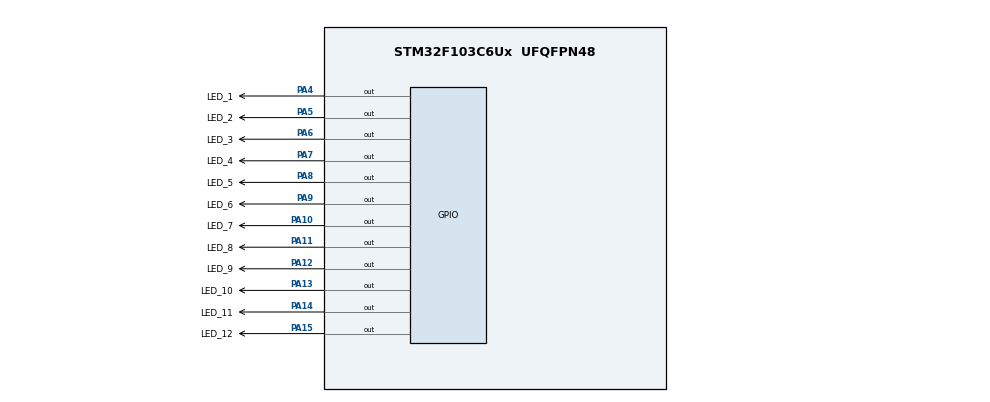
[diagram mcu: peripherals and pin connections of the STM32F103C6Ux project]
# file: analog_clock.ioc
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Mcu.Family=STM32F1
Mcu.Name=STM32F103C6Ux
Mcu.Package=UFQFPN48
NVIC.PriorityGroup=NVIC_PRIORITYGROUP_4
PA10.GPIO_Label=LED_7
PA10.Signal=GPIO_Output
PA11.GPIO_Label=LED_8
PA11.Signal=GPIO_Output
PA12.GPIO_Label=LED_9
PA12.Signal=GPIO_Output
PA13.GPIO_Label=LED_10
PA13.Signal=GPIO_Output
PA14.GPIO_Label=LED_11
PA14.Signal=GPIO_Output
PA15.GPIO_Label=LED_12
PA15.Signal=GPIO_Output
PA4.GPIO_Label=LED_1
PA4.Signal=GPIO_Output
PA5.GPIO_Label=LED_2
PA5.Signal=GPIO_Output
PA6.GPIO_Label=LED_3
PA6.Signal=GPIO_Output
PA7.GPIO_Label=LED_4
PA7.Signal=GPIO_Output
PA8.GPIO_Label=LED_5
PA8.Signal=GPIO_Output
PA9.GPIO_Label=LED_6
PA9.Signal=GPIO_Output
ProjectManager.HeapSize=0x200
ProjectManager.StackSize=0x400
ProjectManager.TargetToolchain=STM32CubeIDE
RCC.APB1Freq_Value=8000000
RCC.APB2Freq_Value=8000000
VP_SYS_VS_ND.Mode=No_Debug
board=custom

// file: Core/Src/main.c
/* USER CODE BEGIN Header */
/**
  ******************************************************************************
  * @file           : main.c
  * @brief          : Main program body
  ******************************************************************************
  * @attention
  *
  * <h2><center>&copy; Copyright (c) 2025 STMicroelectronics.
  * All rights reserved.</center></h2>
  *
  * This software component is licensed by ST under BSD 3-Clause license,
  * the "License"; You may not use this file except in compliance with the
  * License. You may obtain a copy of the License at:
  *                        opensource.org/licenses/BSD-3-Clause
  *
  ******************************************************************************
  */
/* USER CODE END Header */
#include "main.h"

void SystemClock_Config(void);
static void MX_GPIO_Init(void);
/* USER CODE BEGIN PFP */
void clearAllClock(void);
void setNumberOnClock(int num);
void clearNumberOnClock(int num);
/* USER CODE END PFP */

int main(void)
{

  /* MCU Configuration--------------------------------------------------------*/

  /* Reset of all peripherals, Initializes the Flash interface and the Systick. */
  HAL_Init();

  /* Configure the system clock */
  SystemClock_Config();

  /* Initialize all configured peripherals */
  MX_GPIO_Init();
  /* USER CODE BEGIN 2 */
  int hour = 0;
  int min = 0;
  int sec = 0;
  /* USER CODE END 2 */
  clearAllClock();
  /* Infinite loop */
  while (1)
  {
	  clearNumberOnClock(sec / 5);
	  sec++;
	  if (sec == 60) {
		  sec = 0;
		  clearNumberOnClock(min / 5);
	      min++;
	      setNumberOnClock(min / 5);
	  }
	  if (min == 60) {
	      min = 0;
	      clearNumberOnClock(hour % 12);
	      hour++;
	      setNumberOnClock(hour % 12);
	  }
	  setNumberOnClock(hour % 12);
	  setNumberOnClock(min / 5);
	  setNumberOnClock(sec / 5);
	  HAL_Delay(100);
  }
}

void SystemClock_Config(void)
{
  RCC_OscInitTypeDef RCC_OscInitStruct = {0};
  RCC_ClkInitTypeDef RCC_ClkInitStruct = {0};

  /** Initializes the RCC Oscillators according to the specified parameters
  * in the RCC_OscInitTypeDef structure.
  */
  RCC_OscInitStruct.OscillatorType = RCC_OSCILLATORTYPE_HSI;
  RCC_OscInitStruct.HSIState = RCC_HSI_ON;
  RCC_OscInitStruct.HSICalibrationValue = RCC_HSICALIBRATION_DEFAULT;
  RCC_OscInitStruct.PLL.PLLState = RCC_PLL_NONE;
  if (HAL_RCC_OscConfig(&RCC_OscInitStruct) != HAL_OK)
  {
    Error_Handler();
  }
  /** Initializes the CPU, AHB and APB buses clocks
  */
  RCC_ClkInitStruct.ClockType = RCC_CLOCKTYPE_HCLK|RCC_CLOCKTYPE_SYSCLK
                              |RCC_CLOCKTYPE_PCLK1|RCC_CLOCKTYPE_PCLK2;
  RCC_ClkInitStruct.SYSCLKSource = RCC_SYSCLKSOURCE_HSI;
  RCC_ClkInitStruct.AHBCLKDivider = RCC_SYSCLK_DIV1;
  RCC_ClkInitStruct.APB1CLKDivider = RCC_HCLK_DIV1;
  RCC_ClkInitStruct.APB2CLKDivider = RCC_HCLK_DIV1;

  if (HAL_RCC_ClockConfig(&RCC_ClkInitStruct, FLASH_LATENCY_0) != HAL_OK)
  {
    Error_Handler();
  }
}

static void MX_GPIO_Init(void)
{
  GPIO_InitTypeDef GPIO_InitStruct = {0};

  /* GPIO Ports Clock Enable */
  __HAL_RCC_GPIOA_CLK_ENABLE();

  /*Configure GPIO pin Output Level */
  HAL_GPIO_WritePin(GPIOA, LED_1_Pin|LED_2_Pin|LED_3_Pin|LED_4_Pin
                          |LED_5_Pin|LED_6_Pin|LED_7_Pin|LED_8_Pin
                          |LED_9_Pin|LED_10_Pin|LED_11_Pin|LED_12_Pin, GPIO_PIN_RESET);

  /*Configure GPIO pins : LED_1_Pin LED_2_Pin LED_3_Pin LED_4_Pin
                           LED_5_Pin LED_6_Pin LED_7_Pin LED_8_Pin
                           LED_9_Pin LED_10_Pin LED_11_Pin LED_12_Pin */
  GPIO_InitStruct.Pin = LED_1_Pin|LED_2_Pin|LED_3_Pin|LED_4_Pin
                          |LED_5_Pin|LED_6_Pin|LED_7_Pin|LED_8_Pin
                          |LED_9_Pin|LED_10_Pin|LED_11_Pin|LED_12_Pin;
  GPIO_InitStruct.Mode = GPIO_MODE_OUTPUT_PP;
  GPIO_InitStruct.Pull = GPIO_NOPULL;
  GPIO_InitStruct.Speed = GPIO_SPEED_FREQ_LOW;
  HAL_GPIO_Init(GPIOA, &GPIO_InitStruct);

}

/* USER CODE BEGIN 4 */
void clearAllClock(void){
	HAL_GPIO_WritePin ( LED_1_GPIO_Port , LED_1_Pin , GPIO_PIN_SET ) ;
	HAL_GPIO_WritePin ( LED_2_GPIO_Port , LED_2_Pin , GPIO_PIN_SET ) ;
	HAL_GPIO_WritePin ( LED_3_GPIO_Port , LED_3_Pin , GPIO_PIN_SET ) ;
	HAL_GPIO_WritePin ( LED_4_GPIO_Port , LED_4_Pin , GPIO_PIN_SET ) ;
	HAL_GPIO_WritePin ( LED_5_GPIO_Port , LED_5_Pin , GPIO_PIN_SET ) ;
	HAL_GPIO_WritePin ( LED_6_GPIO_Port , LED_6_Pin , GPIO_PIN_SET ) ;
	HAL_GPIO_WritePin ( LED_7_GPIO_Port , LED_7_Pin , GPIO_PIN_SET ) ;
	HAL_GPIO_WritePin ( LED_8_GPIO_Port , LED_8_Pin , GPIO_PIN_SET ) ;
	HAL_GPIO_WritePin ( LED_9_GPIO_Port , LED_9_Pin , GPIO_PIN_SET ) ;
	HAL_GPIO_WritePin ( LED_10_GPIO_Port , LED_10_Pin , GPIO_PIN_SET ) ;
	HAL_GPIO_WritePin ( LED_11_GPIO_Port , LED_11_Pin , GPIO_PIN_SET ) ;
	HAL_GPIO_WritePin ( LED_12_GPIO_Port , LED_12_Pin , GPIO_PIN_SET ) ;
}
void setNumberOnClock(int num){
	if (num == 0){
		HAL_GPIO_WritePin ( LED_2_GPIO_Port , LED_2_Pin , GPIO_PIN_RESET ) ;
	}
	else if (num == 1){
		HAL_GPIO_WritePin ( LED_3_GPIO_Port , LED_3_Pin , GPIO_PIN_RESET ) ;
	}
	else if (num == 2){
		HAL_GPIO_WritePin ( LED_4_GPIO_Port , LED_4_Pin , GPIO_PIN_RESET ) ;
	}
	else if (num == 3){
		HAL_GPIO_WritePin ( LED_5_GPIO_Port , LED_5_Pin , GPIO_PIN_RESET ) ;
	}
	else if (num == 4){
		HAL_GPIO_WritePin ( LED_6_GPIO_Port , LED_6_Pin , GPIO_PIN_RESET ) ;
	}
	else if (num == 5){
		HAL_GPIO_WritePin ( LED_7_GPIO_Port , LED_7_Pin , GPIO_PIN_RESET ) ;
	}
	else if (num == 6){
		HAL_GPIO_WritePin ( LED_8_GPIO_Port , LED_8_Pin , GPIO_PIN_RESET ) ;
	}
	else if (num == 7){
		HAL_GPIO_WritePin ( LED_9_GPIO_Port , LED_9_Pin , GPIO_PIN_RESET ) ;
	}
	else if (num == 8){
		HAL_GPIO_WritePin ( LED_10_GPIO_Port , LED_10_Pin , GPIO_PIN_RESET ) ;
	}
	else if (num == 9){
		HAL_GPIO_WritePin ( LED_11_GPIO_Port , LED_11_Pin , GPIO_PIN_RESET ) ;
	}
	else if (num == 10){
		HAL_GPIO_WritePin ( LED_12_GPIO_Port , LED_12_Pin , GPIO_PIN_RESET ) ;
	}
	else if (num == 11){
		HAL_GPIO_WritePin ( LED_1_GPIO_Port , LED_1_Pin , GPIO_PIN_RESET ) ;
	}
}
void clearNumberOnClock(int num){
	if (num == 0){
		HAL_GPIO_WritePin ( LED_2_GPIO_Port , LED_2_Pin , GPIO_PIN_SET ) ;
	}
	else if (num == 1){
		HAL_GPIO_WritePin ( LED_3_GPIO_Port , LED_3_Pin , GPIO_PIN_SET ) ;
	}
	else if (num == 2){
		HAL_GPIO_WritePin ( LED_4_GPIO_Port , LED_4_Pin , GPIO_PIN_SET ) ;
	}
	else if (num == 3){
		HAL_GPIO_WritePin ( LED_5_GPIO_Port , LED_5_Pin , GPIO_PIN_SET ) ;
	}
	else if (num == 4){
		HAL_GPIO_WritePin ( LED_6_GPIO_Port , LED_6_Pin , GPIO_PIN_SET ) ;
	}
	else if (num == 5){
		HAL_GPIO_WritePin ( LED_7_GPIO_Port , LED_7_Pin , GPIO_PIN_SET ) ;
	}
	else if (num == 6){
		HAL_GPIO_WritePin ( LED_8_GPIO_Port , LED_8_Pin , GPIO_PIN_SET ) ;
	}
	else if (num == 7){
		HAL_GPIO_WritePin ( LED_9_GPIO_Port , LED_9_Pin , GPIO_PIN_SET ) ;
	}
	else if (num == 8){
		HAL_GPIO_WritePin ( LED_10_GPIO_Port , LED_10_Pin , GPIO_PIN_SET ) ;
	}
	else if (num == 9){
		HAL_GPIO_WritePin ( LED_11_GPIO_Port , LED_11_Pin , GPIO_PIN_SET ) ;
	}
	else if (num == 10){
		HAL_GPIO_WritePin ( LED_12_GPIO_Port , LED_12_Pin , GPIO_PIN_SET ) ;
	}
	else if (num == 11){
		HAL_GPIO_WritePin ( LED_1_GPIO_Port , LED_1_Pin , GPIO_PIN_SET ) ;
	}
}
/* USER CODE END 4 */

void Error_Handler(void)
{
  __disable_irq();
  while (1)
  {
  }
}

/************************ (C) COPYRIGHT STMicroelectronics *****END OF FILE****/
